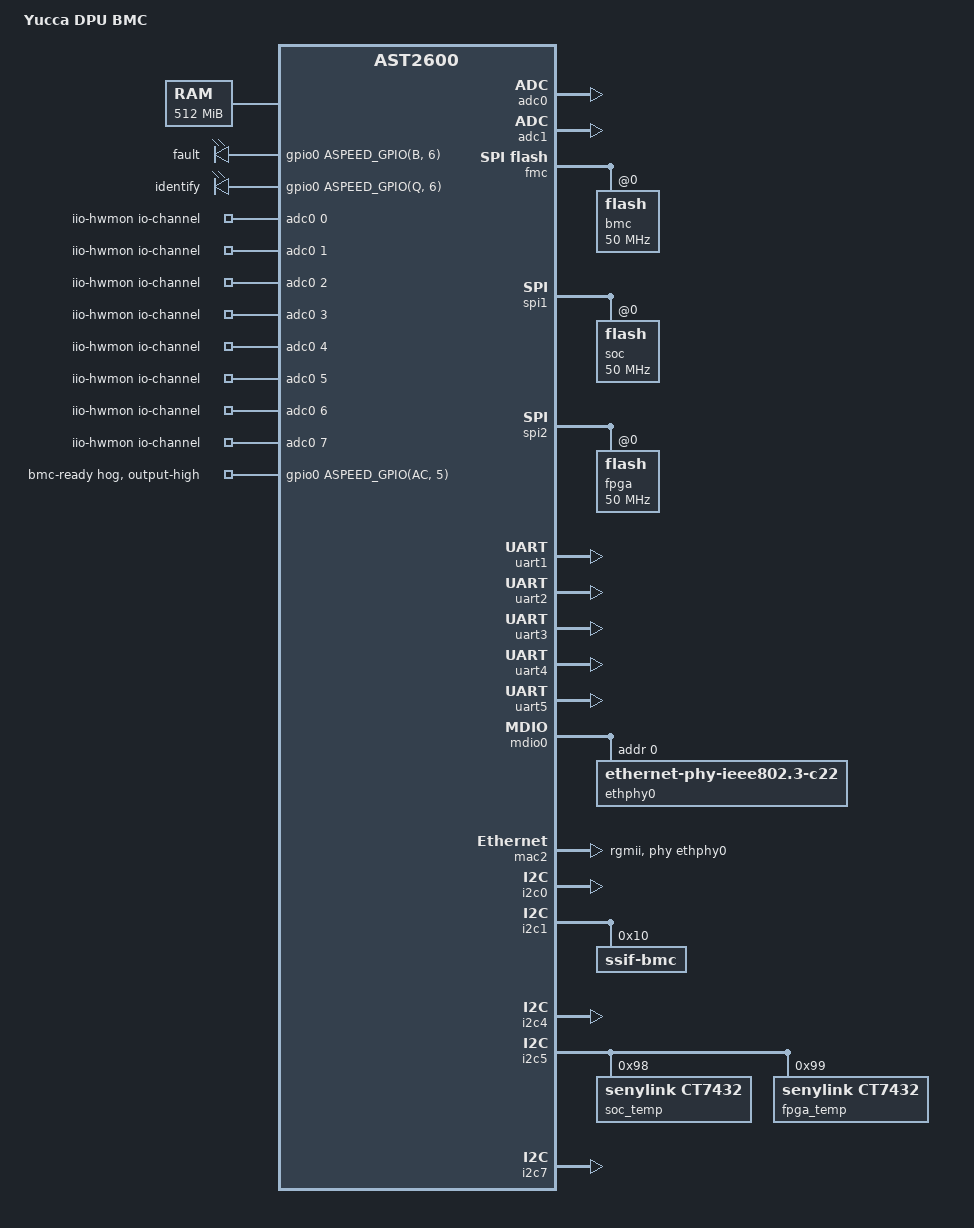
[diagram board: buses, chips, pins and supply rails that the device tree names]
// SPDX-License-Identifier: GPL-2.0+
/dts-v1/;
#include "aspeed-g6.dtsi"
#include <dt-bindings/i2c/i2c.h>
#include <dt-bindings/gpio/aspeed-gpio.h>

/ {
	model = "Yucca DPU BMC";
	compatible = "yage,dpu-bmc", "aspeed,ast2600";

	aliases {
	
	};

	chosen {
		stdout-path = &uart5;
		bootargs = "console=ttyS4,115200 earlycon";
	};

	memory@80000000 {
		reg = <0x80000000 0x20000000>;
	};

	reserved-memory {
		#address-cells = <1>;
		#size-cells = <1>;
		ranges;

		vga_memory: framebuffer@9f000000 {
			no-map;
			reg = <0x9f000000 0x01000000>; /* 16M */
		};

		gfx_memory: framebuffer {
			size = <0x01000000>;
			alignment = <0x01000000>;
			compatible = "shared-dma-pool";
			reusable;
		};

		video_engine_memory: jpegbuffer {
			size = <0x02000000>;	/* 32M */
			alignment = <0x01000000>;
			compatible = "shared-dma-pool";
			reusable;
		};
	};

	leds {
		compatible = "gpio-leds";

		fault {
			gpios = <&gpio0 ASPEED_GPIO(B, 6) GPIO_ACTIVE_HIGH>;
		};

		identify {
			gpios = <&gpio0 ASPEED_GPIO(Q, 6) GPIO_ACTIVE_HIGH>;
		};
	};

	iio-hwmon {
		compatible = "iio-hwmon";
			io-channels = <&adc0 0>, <&adc0 1>, <&adc0 2>, <&adc0 3>,
				<&adc0 4>, <&adc0 5>, <&adc0 6>, <&adc0 7>,
				<&adc1 0>, <&adc1 1>, <&adc1 2>, <&adc1 3>,
				<&adc1 4>, <&adc1 5>, <&adc1 6>, <&adc1 7>;
	};
};

&adc0 {
	vref = <2500>;
	status = "okay";
	pinctrl-names = "default";
	pinctrl-0 = <&pinctrl_adc0_default &pinctrl_adc1_default
		&pinctrl_adc2_default &pinctrl_adc3_default
		&pinctrl_adc4_default &pinctrl_adc5_default
		&pinctrl_adc6_default &pinctrl_adc7_default>;
    };

&adc1 {
	vref = <2500>;
	status = "okay";
	pinctrl-names = "default";
	pinctrl-0 = <&pinctrl_adc8_default &pinctrl_adc9_default
		&pinctrl_adc10_default &pinctrl_adc11_default
		&pinctrl_adc12_default &pinctrl_adc13_default
		&pinctrl_adc14_default &pinctrl_adc15_default>;
};

&fmc {
	fmc-spi-user-mode;
	status = "okay";
	pinctrl-names = "default";
	pinctrl-0 = <&pinctrl_fwqspi_default>;

	flash@0 {
		status = "okay";
		m25p,fast-read;
		label = "bmc";
		spi-rx-bus-width = <2>;
		spi-tx-bus-width = <2>;
		spi-max-frequency = <50000000>; 
#include "openbmc-flash-layout-64.dtsi"
	};
};

&spi1 {
	status = "okay";
	pinctrl-names = "default";
	pinctrl-0 = <&pinctrl_spi1_default>;

	flash@0 {
		status = "okay";
		m25p,fast-read;
		label = "soc";
		spi-rx-bus-width = <2>;
		spi-tx-bus-width = <2>;
		spi-max-frequency = <50000000>; 
	};
};

&spi2 {
	status = "okay";
	pinctrl-names = "default";
	pinctrl-0 = <&pinctrl_spi2_default>;

	flash@0 {
		status = "okay";
		m25p,fast-read;
		label = "fpga";
		spi-rx-bus-width = <2>;
		spi-tx-bus-width = <2>;
		spi-max-frequency = <50000000>; 
	};
};

&uart1 {
	status = "okay";
	pinctrl-names = "default";
	pinctrl-0 = <&pinctrl_txd1_default
			 &pinctrl_rxd1_default
			 &pinctrl_ncts1_default
			 &pinctrl_nrts1_default>;
};

&uart2 {
	status = "okay";
	pinctrl-names = "default";
	pinctrl-0 = <&pinctrl_txd2_default
			 &pinctrl_rxd2_default>;
};

&uart3 {
	status = "okay";
	pinctrl-names = "default";
	pinctrl-0 = <&pinctrl_txd3_default
			 &pinctrl_rxd3_default>;
};

&uart4 {
	status = "okay";
	pinctrl-names = "default";
	pinctrl-0 = <&pinctrl_txd4_default
			 &pinctrl_rxd4_default>;
};

/* The BMC's uart */
&uart5 {
	status = "okay";
};

&mdio0 {
	status = "okay";

	ethphy0: ethernet-phy@0 {
		compatible = "ethernet-phy-ieee802.3-c22";
		reg = <0>;
	};
};

&mac2 {
	status = "okay";

	phy-mode = "rgmii";
	phy-handle = <&ethphy0>;

	pinctrl-names = "default";
	pinctrl-0 = <&pinctrl_rgmii3_default>;
};

&i2c0 {
	status = "okay";
};

&i2c1 {
	status = "okay";
	ssif-bmc@10 {
		compatible = "ssif-bmc";
		reg = <0x10>;
	};
};

&i2c4 {
	status = "okay";
};

&i2c5 {
	status = "okay";
	soc_temp: ct7432@0x98 {
		compatible = "senylink,ct7432";
		reg = <0x98>;
	};
	fpga_temp: ct7432@0x99 {
		compatible = "senylink,ct7432";
		reg = <0x99>;
	};
};

&i2c7 {
	status = "okay";
};

&gpio0 {
	gpio-line-names =
	/*A0-A7*/	"","","","","","","","",
	/*B0-B7*/	"","","","","","","","",
	/*C0-C7*/	"","","","","","","","",
	/*D0-D7*/	"","","","","","","","",
	/*E0-E7*/	"","","","","","","","",
	/*F0-F7*/	"","","","","","","","",
	/*G0-G7*/	"","","","","","","","",
	/*H0-H7*/	"","","","","","","","",
	/*I0-I7*/	"","","","","","","","",
	/*J0-J7*/	"","","","","","","","",
	/*K0-K7*/	"","","","","","","","",
	/*L0-L7*/	"","","","","","","","",
	/*M0-M7*/	"","","","","","","","",
	/*N0-N7*/	"","","","","","","","",
	/*O0-O7*/	"","","","","BMC_SOC_EN","BMC_FPGA_EN","","",
	/*P0-P7*/	"","","TEMP_THERM","TEMP_ALERT","","","","",
	/*Q0-Q7*/	"","","","","","identify-button","led-identify","",
	/*R0-R7*/	"","","","","","reset-button","","",
	/*S0-S7*/	"","","","","","","","",
	/*T0-T7*/	"","","","","","","","",
	/*U0-U7*/	"","","","","","","","",
	/*V0-V7*/	"","","","","","","","",
	/*W0-W7*/	"","","","","","","","",
	/*X0-X7*/	"","","","","","","","",
	/*Y0-Y7*/	"","","","","","","","",
	/*Z0-Z7*/	"","","","","","","","",
	/*AA0-AA7*/	"","","","","","","","",
	/*AB0-AB7*/	"","","","","","","","",
	/*AC0-AC7*/	"","","","","","","","";

	bmc-ready {
		gpio-hog;
		gpios = <ASPEED_GPIO(AC, 5) GPIO_ACTIVE_HIGH>;
		output-high;
		line-name = "bmc-ready";
	};
};

&gpio1 {
	gpio-line-names =
	/*18A0-18A7*/	"","","","","","","","",
	/*18B0-18B7*/	"","","","","","","","",
	/*18C0-18C7*/	"","","","","FPGA_INIT_DONE","","","","",
	/*18D0-18D7*/	"","","","","","","","",
	/*18E0-18E3*/	"","","","";
};
